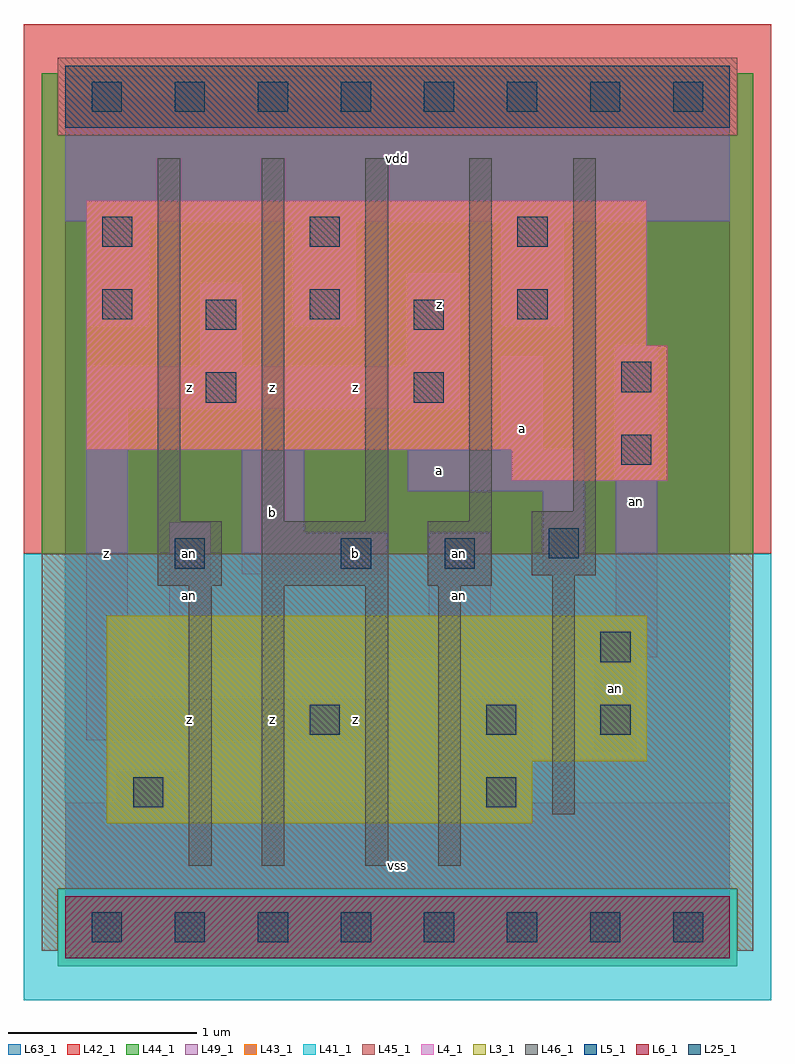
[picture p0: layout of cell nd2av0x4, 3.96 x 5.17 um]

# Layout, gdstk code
import gdstk
lib = gdstk.Library(unit=1e-6, precision=1e-09)
def R(c, l, rs):  # rectangles x0, y0, x1, y1
    for r in rs: c.add(gdstk.rectangle(r[:2], r[2:], *l))
def A(c, l, x, y, w, h, nx, ny, dx, dy):  # array of equal rectangles
    R(c, l, [(x+i*dx, y+j*dy, x+i*dx+w, y+j*dy+h) for i in range(nx) for j in range(ny)])
L3_1 = (3, 1)
L4_1 = (4, 1)
L5_1 = (5, 1)
L6_1 = (6, 1)
L25_1 = (25, 1)
L41_1 = (41, 1)
L42_1 = (42, 1)
L43_1 = (43, 1)
L44_1 = (44, 1)
L45_1 = (45, 1)
L46_1 = (46, 1)
L49_1 = (49, 1)
L63_1 = (63, 1)

nd2av0x4 = lib.new_cell('nd2av0x4')
R(nd2av0x4, L3_1, [(0.22,0.55,2.475,0.88), (0.22,0.88,3.08,1.65)])
R(nd2av0x4, L4_1, [(2.365,2.365,3.19,2.53), (0.11,2.53,3.19,3.08), (0.11,3.08,3.08,3.85)])
R(nd2av0x4, L5_1, [(0,4.235,3.52,4.565)])
R(nd2av0x4, L6_1, [(0,-0.165,3.52,0.165)])
A(nd2av0x4, L25_1, 0.14, -0.08, 0.16, 0.16, 8, 2, 0.44, 4.4)
A(nd2av0x4, L25_1, 0.195, 3.22, 0.16, 0.16, 3, 2, 1.1, 0.385)
R(nd2av0x4, L25_1, [(0.36,0.635,0.52,0.795), (2.23,0.635,2.39,0.795), (1.295,1.02,1.455,1.18), (2.23,1.02,2.39,1.18), (2.835,1.02,2.995,1.18), (2.835,1.405,2.995,1.565), (0.58,1.9,0.74,2.06), (1.46,1.9,1.62,2.06), (2.01,1.9,2.17,2.06), (2.56,1.955,2.72,2.115), (2.945,2.45,3.105,2.61), (0.745,2.78,0.905,2.94), (1.845,2.78,2.005,2.94), (2.945,2.835,3.105,2.995), (0.745,3.165,0.905,3.325), (1.845,3.165,2.005,3.325)])
R(nd2av0x4, L41_1, [(-0.22,-0.385,3.74,1.98)])
R(nd2av0x4, L42_1, [(-0.22,1.98,3.74,4.785)])
R(nd2av0x4, L43_1, [(0,-0.165,3.52,0.165), (0.22,0.55,2.475,0.88), (0.22,0.88,3.08,1.65), (2.365,2.365,3.19,2.53), (0.11,2.53,3.19,3.08), (0.11,3.08,3.08,3.85), (0,4.235,3.52,4.565)])
R(nd2av0x4, L44_1, [(-0.04,-0.205,3.56,0.205), (-0.125,1.98,3.645,4.195), (-0.125,4.195,-0.04,4.525), (3.56,4.195,3.645,4.525)])
R(nd2av0x4, L45_1, [(-0.125,-0.125,-0.04,0.205), (3.56,-0.125,3.645,0.205), (-0.125,0.205,3.645,1.98), (-0.04,4.195,3.56,4.605)])
A(nd2av0x4, L46_1, 0.49, 2.15, 0.12, 1.925, 4, 1, 0.55, 0)
R(nd2av0x4, L46_1, [(0.655,0.325,0.775,1.81), (1.04,0.325,1.16,1.81), (1.59,0.325,1.71,1.81), (1.975,0.325,2.095,1.81), (2.58,0.6,2.7,1.865), (0.49,1.81,0.83,2.15), (1.04,1.81,1.71,2.15), (1.92,1.81,2.26,2.15), (2.47,1.865,2.81,2.205), (2.69,2.205,2.81,4.075)])
A(nd2av0x4, L49_1, 0.11, 3.19, 0.33, 0.55, 3, 1, 1.1, 0)
R(nd2av0x4, L49_1, [(0,-0.11,3.52,0.66), (0.275,0.66,0.605,0.825), (2.145,0.66,2.475,1.21), (2.805,0.935,3.025,1.43), (0.11,0.99,1.705,1.21), (0.11,1.21,0.33,2.75), (0.55,1.43,3.135,1.65), (0.55,1.65,0.77,2.145), (1.925,1.65,2.255,2.09), (2.915,1.65,3.135,3.08), (0.935,1.87,1.705,2.09), (2.53,1.87,2.75,2.31), (0.935,2.09,1.265,2.53), (1.815,2.31,2.75,2.53), (2.31,2.53,2.53,3.025), (0.11,2.75,2.09,2.97), (0.715,2.97,0.935,3.41), (1.815,2.97,2.09,3.465), (0,3.74,3.52,4.51)])
R(nd2av0x4, L63_1, [(0,0,3.52,4.4)])
nd2av0x4.add(gdstk.Label('an', (0.66,1.98), layer=49, texttype=1))
nd2av0x4.add(gdstk.Label('an', (2.09,1.98), layer=49, texttype=1))
nd2av0x4.add(gdstk.Label('z', (0.22,1.98), layer=49, texttype=1))
nd2av0x4.add(gdstk.Label('z', (0.66,1.1), layer=49, texttype=1))
nd2av0x4.add(gdstk.Label('z', (1.1,1.1), layer=49, texttype=1))
nd2av0x4.add(gdstk.Label('an', (0.66,1.76), layer=49, texttype=1))
nd2av0x4.add(gdstk.Label('b', (1.1,2.2), layer=49, texttype=1))
nd2av0x4.add(gdstk.Label('z', (1.1,2.86), layer=49, texttype=1))
nd2av0x4.add(gdstk.Label('z', (0.66,2.86), layer=49, texttype=1))
nd2av0x4.add(gdstk.Label('vss', (1.76,0.33), layer=49, texttype=1))
nd2av0x4.add(gdstk.Label('z', (1.54,1.1), layer=49, texttype=1))
nd2av0x4.add(gdstk.Label('b', (1.54,1.98), layer=49, texttype=1))
nd2av0x4.add(gdstk.Label('a', (1.98,2.42), layer=49, texttype=1))
nd2av0x4.add(gdstk.Label('z', (1.54,2.86), layer=49, texttype=1))
nd2av0x4.add(gdstk.Label('z', (1.98,3.3), layer=49, texttype=1))
nd2av0x4.add(gdstk.Label('vdd', (1.76,4.07), layer=49, texttype=1))
nd2av0x4.add(gdstk.Label('an', (2.09,1.76), layer=49, texttype=1))
nd2av0x4.add(gdstk.Label('a', (2.42,2.64), layer=49, texttype=1))
nd2av0x4.add(gdstk.Label('an', (2.915,1.265), layer=49, texttype=1))
nd2av0x4.add(gdstk.Label('an', (3.025,2.255), layer=49, texttype=1))

lib.write_gds('nd2av0x4.gds')
